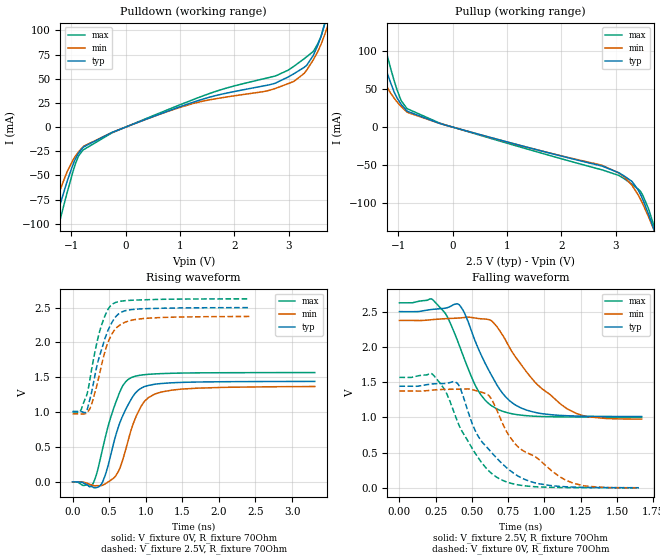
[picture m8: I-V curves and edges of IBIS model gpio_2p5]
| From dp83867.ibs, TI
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|   gpio_2p5 Model
[Model]   gpio_2p5
Model_type   Output
Polarity   Non-Inverting
Vmeas = 1.25
Vref = 0
Cref = 5pF
Rref = 70
|   typ   min   max
|   (nom PVT)   (fast PVT)   (slow PVT)
C_comp   1.613e-12   1.233e-12   1.618e-12
| Where nom  PVT is Nominal Process, 2.5V, 27C
|   Fast PVT is Strong Process,  2.625V, -40C
|   Slow PVT is Weak Process,   2.375V, 125C
[Voltage Range]   2.5   2.375   2.625
|Junction Temperature
[Temperature Range]   27   125   -40
[Pullup Reference]   2.5   2.375   2.625
[Pulldown Reference]   0   0   0
[Power Clamp Reference]   2.5   2.375   2.625
[GND Clamp Reference]   0   0   0
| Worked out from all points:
|   slope of the pulldown table from 0 to 0.375 V, typ, clamps not added: 46.3 ohm
|   slope of the pullup table from 0 to 0.375 V, typ, clamps not added: 50.9 ohm
|   falling waveform, V_fixture 2.5V, R_fixture 70Ohm: 20-80 % time 224ps typ, 343ps min, 201ps max; typ from 2.5 V to 1.01 V
|   rising waveform, V_fixture 0V, R_fixture 70Ohm: 20-80 % time 285ps typ, 271ps min, 257ps max; typ from 0 V to 1.44 V
|   rising waveform, V_fixture 2.5V, R_fixture 70Ohm: 20-80 % time 232ps typ, 225ps min, 201ps max; typ from 1.01 V to 2.5 V
|   falling waveform, V_fixture 0V, R_fixture 70Ohm: 20-80 % time 275ps typ, 359ps min, 241ps max; typ from 1.44 V to 0 V
[Pulldown]
|   Voltage   I(typ)   I(min)   I(max)
-2.5V     -338.9mA   -286.3mA   -390.8mA
-1.464V   -130.2mA   -106.8mA   -154.1mA
-1.37V    -111.5mA   -91.01mA   -132.6mA
-1.261V   -90.39mA   -73.37mA   -108.1mA
-970mV    -38.88mA   -34.18mA   -46.18mA
-791.1mV  -21.54mA   -20.88mA   -24.12mA
962.7mV   20.32mA    19.75mA    22.28mA
3.093V    55.2mA     47.32mA    62.88mA
3.446V    73.79mA    69.22mA    78.08mA
3.661V    106.8mA    95.8mA     107.6mA
3.708V    117.1mA    103.5mA    119.4mA
5V        444.7mA    374.2mA    507.9mA
[Pullup]
|   Voltage   I(typ)   I(min)   I(max)
-2.5V     397.5mA    312.9mA    481.8mA
-1.633V   174.4mA    129.8mA    219.8mA
-1.484V   137.3mA    100.3mA    175.6mA
-1.374V   110.6mA    79.65mA    143.4mA
-1.07V    45.37mA    37.69mA    59.86mA
-950mV    30.39mA    27.28mA    35.41mA
-825mV    20.62mA    19.19mA    23.87mA
3.06V     -60.17mA   -60.38mA   -63.69mA
3.452V    -88mA      -94.33mA   -84.12mA
3.601V    -114.1mA   -117.6mA   -106.9mA
3.791V    -152.2mA   -150.5mA   -149.5mA
5V        -407.3mA   -364.5mA   -440.9mA
[Ramp]
R_load = 70
|   typ   min   max
dV/dt_r   0.864741/2.8486e-10   0.823953/2.72591e-10   0.940053/2.56287e-10
dV/dt_f   0.893513/2.23964e-10   0.839575/3.42324e-10   0.973376/2.00424e-10
[Falling Waveform]
V_fixture = 2.5V
V_fixture_min = 2.375V
V_fixture_max = 2.625V
R_fixture = 70Ohm
|   Time   V(typ)   V(min)   V(max)
0s        2.5V       2.375V     2.625V
230ps     2.533V     2.387V     2.669V
320ps     2.551V     2.401V     2.463V
410ps     2.601V     2.409V     2.036V
540ps     1.994V     2.403V     1.388V
680ps     1.434V     2.264V     1.112V
850ps     1.123V     1.717V     1.028V
1.16ns    1.022V     1.115V     1.005V
1.31ns    1.015V     1.006V     1.003V
1.67ns    1.011V     974mV      1.003V
[Rising Waveform]
V_fixture = 0V
V_fixture_min = 0V
V_fixture_max = 0V
R_fixture = 70Ohm
|   Time   V(typ)   V(min)   V(max)
0s        52.45uV    147.2uV    40.96uV
260ps     -64.93mV   -41.5mV    -51.39mV
330ps     -80.35mV   -53.95mV   119.3mV
390ps     -39.02mV   -52.97mV   380.2mV
490ps     252.5mV    2.135mV    813.6mV
630ps     800.7mV    156.7mV    1.249V
800ps     1.183V     742.9mV    1.494V
980ps     1.365V     1.151V     1.537V
1.22ns    1.411V     1.29V      1.553V
3.31ns    1.441V     1.368V     1.568V
[Rising Waveform]
V_fixture = 2.5V
V_fixture_min = 2.375V
V_fixture_max = 2.625V
R_fixture = 70Ohm
|   Time   V(typ)   V(min)   V(max)
0s        1.011V     975.7mV    1.003V
100ps     1.009V     975.5mV    1.003V
190ps     1.011V     986.5mV    1.234V
260ps     1.283V     1.114V     1.611V
370ps     1.808V     1.554V     2.157V
460ps     2.107V     1.929V     2.422V
550ps     2.307V     2.142V     2.552V
670ps     2.435V     2.265V     2.593V
890ps     2.478V     2.333V     2.608V
2.42ns    2.499V     2.372V     2.624V
[Falling Waveform]
V_fixture = 0V
V_fixture_min = 0V
V_fixture_max = 0V
R_fixture = 70Ohm
|   Time   V(typ)   V(min)   V(max)
0s        1.441V     1.373V     1.567V
230ps     1.474V     1.387V     1.608V
320ps     1.481V     1.397V     1.36V
400ps     1.484V     1.398V     941.5mV
520ps     822.4mV    1.382V     497.5mV
610ps     559.1mV    1.32V      252.7mV
710ps     339mV      918.7mV    106.3mV
820ps     163.4mV    575.9mV    40.41mV
1.16ns    12.75mV    96.09mV    2.484mV
1.65ns    285.3uV    -1.4mV     225.6uV
